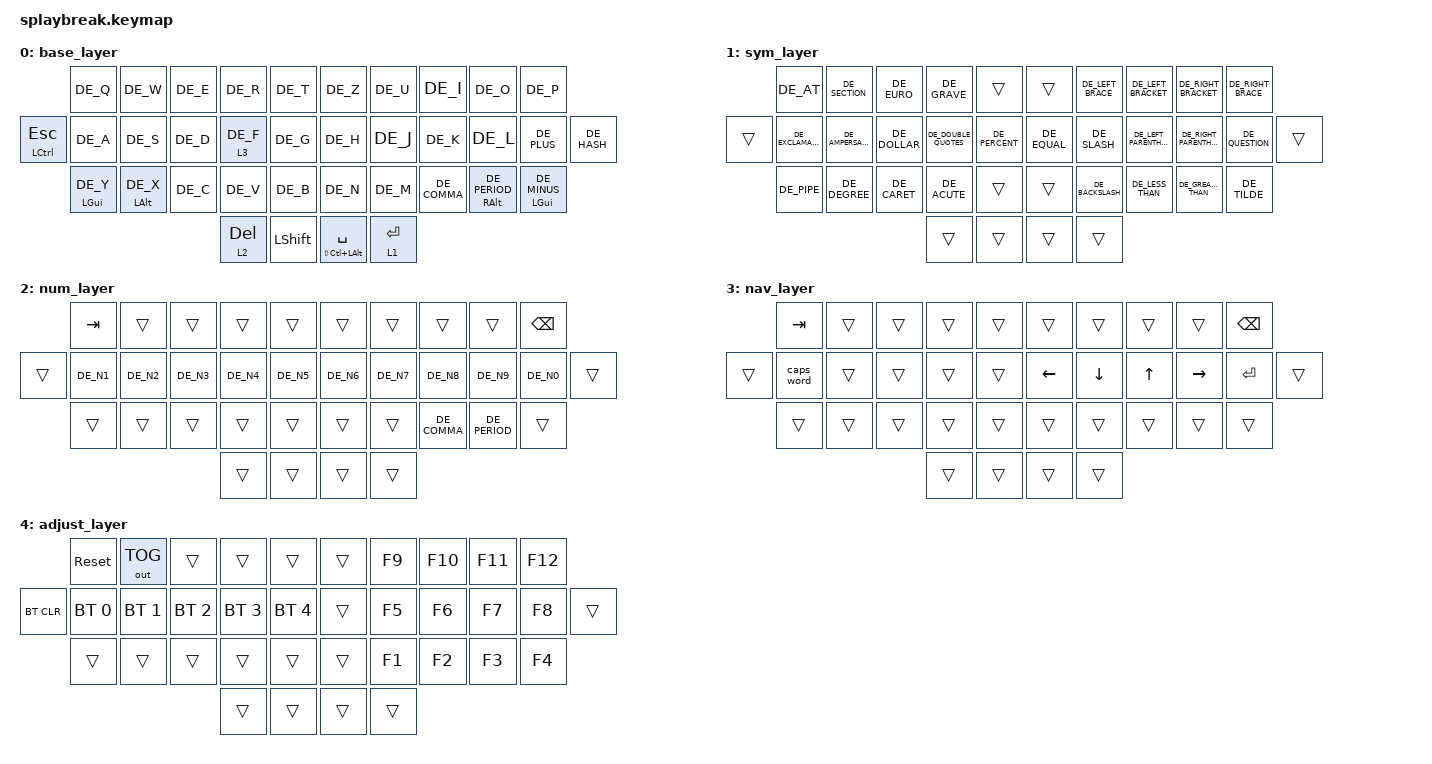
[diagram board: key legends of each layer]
#include "keys_de.h"
#include <behaviors.dtsi>
#include <dt-bindings/zmk/bt.h>
#include <dt-bindings/zmk/keys.h>
#include <dt-bindings/zmk/outputs.h>

&mt {
    quick-tap-ms = <100>;
    flavor = "tap-preferred";
    tapping-term-ms = <240>;
};

&lt { tapping-term-ms = <240>; };

/ {

    keymap {
        compatible = "zmk,keymap";

        base_layer {
          bindings = <
               &kp DE_Q       &kp DE_W       &kp DE_E  &kp DE_R      &kp DE_T      &kp DE_Z                    &kp DE_U     &kp DE_I      &kp DE_O            &kp DE_P
&mt LCTRL ESC  &kp DE_A       &kp DE_S       &kp DE_D  &lt 3 DE_F    &kp DE_G      &kp DE_H                    &kp DE_J     &kp DE_K      &kp DE_L            &kp DE_PLUS        &kp DE_HASH
               &mt LGUI DE_Y  &mt LALT DE_X  &kp DE_C  &kp DE_V      &kp DE_B      &kp DE_N                    &kp DE_M     &kp DE_COMMA  &mt RALT DE_PERIOD  &mt LGUI DE_MINUS
                                                       &lt 2 DELETE  &kp LSHIFT    &mt LS(LC(LEFT_ALT)) SPACE  &lt 1 ENTER
            >;
        };

        sym_layer {
            bindings = <
        &kp DE_AT           &kp DE_SECTION    &kp DE_EURO    &kp DE_GRAVE          &trans            &trans        &kp DE_LEFT_BRACE  &kp DE_LEFT_BRACKET      &kp DE_RIGHT_BRACKET      &kp DE_RIGHT_BRACE
&trans  &kp DE_EXCLAMATION  &kp DE_AMPERSAND  &kp DE_DOLLAR  &kp DE_DOUBLE_QUOTES  &kp DE_PERCENT    &kp DE_EQUAL  &kp DE_SLASH       &kp DE_LEFT_PARENTHESIS  &kp DE_RIGHT_PARENTHESIS  &kp DE_QUESTION     &trans
        &kp DE_PIPE         &kp DE_DEGREE     &kp DE_CARET   &kp DE_ACUTE          &trans            &trans        &kp DE_BACKSLASH   &kp DE_LESS_THAN         &kp DE_GREATER_THAN       &kp DE_TILDE
                                                             &trans                &trans            &trans        &trans
            >;
        };

        num_layer {
            bindings = <
        &kp TAB    &trans     &trans     &trans     &trans       &trans     &trans     &trans        &trans         &kp BACKSPACE
&trans  &kp DE_N1  &kp DE_N2  &kp DE_N3  &kp DE_N4  &kp DE_N5    &kp DE_N6  &kp DE_N7  &kp DE_N8     &kp DE_N9      &kp DE_N0      &trans
        &trans     &trans     &trans     &trans     &trans       &trans     &trans     &kp DE_COMMA  &kp DE_PERIOD  &trans
                                         &trans     &trans       &trans     &trans
            >;
        };

        nav_layer {
            bindings = <
        &kp TAB     &trans  &trans  &trans  &trans    &trans    &trans    &trans  &trans     &kp BACKSPACE
&trans  &caps_word  &trans  &trans  &trans  &trans    &kp LEFT  &kp DOWN  &kp UP  &kp RIGHT  &kp ENTER      &trans
        &trans      &trans  &trans  &trans  &trans    &trans    &trans    &trans  &trans     &trans
                                    &trans  &trans    &trans    &trans
            >;
        };

        adjust_layer {
            bindings = <
            &sys_reset    &out OUT_TOG  &trans        &trans        &trans          &trans  &kp F9  &kp F10  &kp F11  &kp F12
&bt BT_CLR  &bt BT_SEL 0  &bt BT_SEL 1  &bt BT_SEL 2  &bt BT_SEL 3  &bt BT_SEL 4    &trans  &kp F5  &kp F6   &kp F7   &kp F8   &trans
            &trans        &trans        &trans        &trans        &trans          &trans  &kp F1  &kp F2   &kp F3   &kp F4
                                                      &trans        &trans          &trans  &trans
            >;
        };
    };
};
